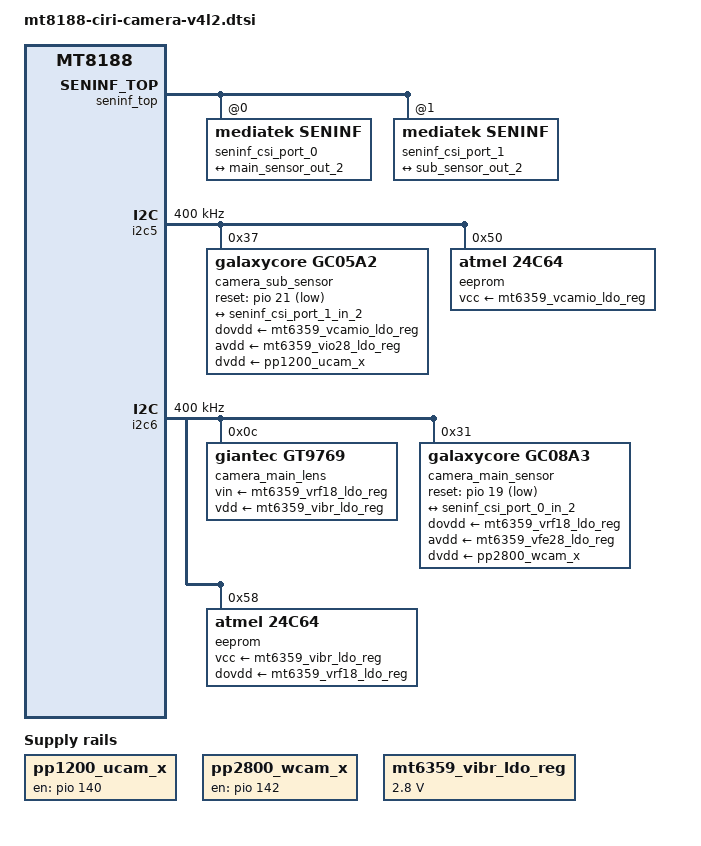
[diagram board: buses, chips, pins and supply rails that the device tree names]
// SPDX-License-Identifier: GPL-2.0
/* Copyright (c) 2023 MediaTek Inc. */

#include <dt-bindings/gpio/gpio.h>

#define V4L2_FWNODE_BUS_TYPE_CSI2_CPHY 1
#define V4L2_FWNODE_BUS_TYPE_CSI2_DPHY 4

/ {
	pp1200_ucam_x: pp1200-ucam-x {
		compatible = "regulator-fixed";
		regulator-name = "pp1200_ucam_x";
		gpio = <&pio 140 GPIO_ACTIVE_HIGH>;
		enable-active-high;
		pinctrl-names = "default";
		pinctrl-0 = <&pp1200_ucam_x_pins>;
	};

	pp2800_wcam_x: pp2800-ucam-x {
		compatible = "regulator-fixed";
		regulator-name = "pp2800_wcam_x";
		gpio = <&pio 142 GPIO_ACTIVE_HIGH>;
		enable-active-high;
		pinctrl-names = "default";
		pinctrl-0 = <&pp2800_wcam_x_pins>;
	};
};

&seninf_top {
		seninf_csi_port_0: csi_receiver@0 {
			compatible = "mediatek,seninf";
			csi-port = "0";
			port {
				seninf_csi_port_0_in_2: endpoint@2 {
					data-lanes = <1 2 3 4>;
					remote-endpoint = <&main_sensor_out_2>;
				};
			};
		};

		seninf_csi_port_1: csi_receiver@1 {
			compatible = "mediatek,seninf";
			csi-port = "1";
			port {
				seninf_csi_port_1_in_2: endpoint@2 {
					data-lanes = <1 4>;
					remote-endpoint = <&sub_sensor_out_2>;
				};
			};
		};
};

&pio {
	camera_main_sensor_pins: camera-main-sensor-pins@0 {
		pins_cmd_dat {
			pinmux = <PINMUX_GPIO22__FUNC_O_CMMCLK0>;
			drive-strength = <MTK_DRIVE_2mA>;
		};
	};

	camera_sub_sensor_pins: camera-sub-sensor-pins@1 {
		pins_cmd_dat {
			pinmux = <PINMUX_GPIO23__FUNC_O_CMMCLK1>;
			drive-strength = <MTK_DRIVE_2mA>;
		};
	};

	pp1200_ucam_x_pins: pp1200-ucam-x-pins {
		pins-cmd-dat {
			pinmux = <PINMUX_GPIO140__FUNC_B_GPIO140>;
			output-low;
		};
	};

	pp2800_wcam_x_pins: pp2800-wcam-x-pins {
		pins-cmd-dat {
			pinmux = <PINMUX_GPIO142__FUNC_B_GPIO142>;
			output-low;
		};
	};
};

&mt6359_vibr_ldo_reg {
	regulator-min-microvolt = <2800000>;
	regulator-max-microvolt = <2800000>;
};

&i2c5 {
	status = "okay";
	clock-frequency = <400000>;

	camera_sub_sensor@37 {
		compatible =  "galaxycore,gc05a2";
		reg = <0x37>;

		clocks = <&topckgen CLK_TOP_CAMTG2>;

		reset-gpios = <&pio 21 GPIO_ACTIVE_LOW>;

		pinctrl-names = "default";
		pinctrl-0 = <&camera_sub_sensor_pins>;

		dovdd-supply = <&mt6359_vcamio_ldo_reg>;
		avdd-supply = <&mt6359_vio28_ldo_reg>;
		dvdd-supply = <&pp1200_ucam_x>;

		port {
			sub_sensor_out_2: endpoint {
				bus-type = <V4L2_FWNODE_BUS_TYPE_CSI2_DPHY>;
				data-lanes = <1 4>;
				link-frequencies = /bits/ 64 <448000000 224000000>;
				remote-endpoint = <&seninf_csi_port_1_in_2>;
			};
		};
	};

		eeprom@50 {
			compatible = "atmel,24c64";
			reg = <0x50>;
			pagesize = <32>;
			vcc-supply = <&mt6359_vcamio_ldo_reg>;
			device-id = <0>;
		};
};

&i2c6 {
	status = "okay";
	clock-frequency = <400000>;

	camera_main_lens: camera-main-lens@c {
		compatible = "giantec,gt9769";
		reg = <0x0c>;

		vin-supply = <&mt6359_vrf18_ldo_reg>;
		vdd-supply = <&mt6359_vibr_ldo_reg>;
	};

	camera_main_sensor@31 {
		compatible = "galaxycore,gc08a3";
		reg = <0x31>;

		clocks = <&topckgen CLK_TOP_CAMTG>;

		reset-gpios = <&pio 19 GPIO_ACTIVE_LOW>;

		pinctrl-names = "default";
		pinctrl-0 = <&camera_main_sensor_pins>;

		dovdd-supply = <&mt6359_vrf18_ldo_reg>;
		avdd-supply = <&mt6359_vfe28_ldo_reg>;
		dvdd-supply = <&pp2800_wcam_x>;

		lens-focus = <&camera_main_lens>;

		port {
			main_sensor_out_2: endpoint {
				bus-type = <V4L2_FWNODE_BUS_TYPE_CSI2_DPHY>;
				data-lanes = <1 2 3 4>;
				link-frequencies = /bits/ 64 <336000000 207000000>;
				remote-endpoint = <&seninf_csi_port_0_in_2>;
			};
		};
	};

	eeprom@58 {
		compatible = "atmel,24c64";
		reg = <0x58>;
		pagesize = <32>;
		vcc-supply = <&mt6359_vibr_ldo_reg>;
		dovdd-supply = <&mt6359_vrf18_ldo_reg>;
		device-id = <0>;
	};
};

